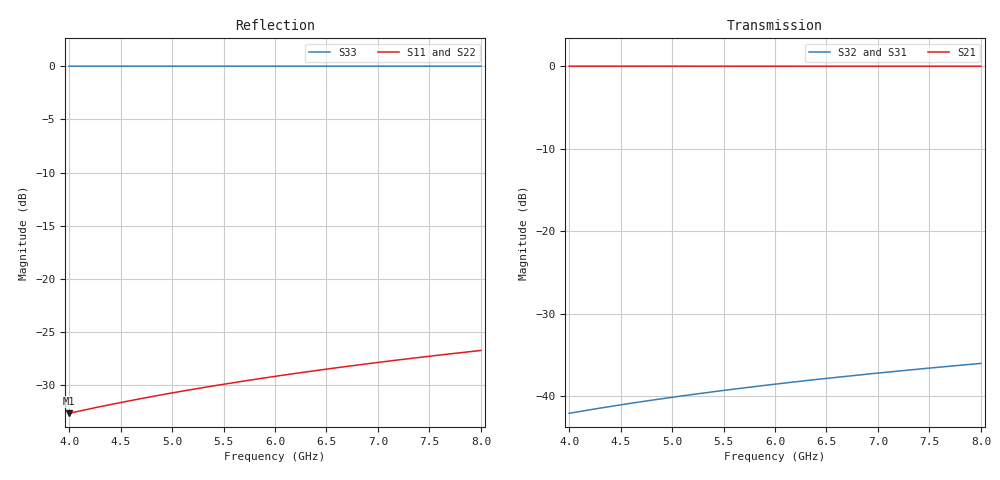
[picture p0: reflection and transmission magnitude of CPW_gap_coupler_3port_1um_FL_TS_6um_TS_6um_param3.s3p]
! Sonnet Data File
! From: em Version : 15.52
! From Project: CPW_gap_coupler_3port_1um_FL_TS_6um
! Data is De-embedded
! Data File Written: 08/14/2018 17:24:40
!< HDATE 08/14/2018 17:19:51
!< MDATE 08/14/2018 17:19:51
!< PARAMS
!< gap = 2.0
!< cpwS = 5.0
!< cpwS1 = 5.0
!< feedW = 12.0
!< feedS1 = 5.0
!< cond_length = 244.0
!< inner_length = 226.0
!< hangerW = 12.0000175
!< open_gap = 22.0
!< coupler_length = 250.0
!< END PARAMS
# GHZ S MA R 50.00000
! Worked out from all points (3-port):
!   201 points, 4 GHz to 8 GHz, reference 50 ohm
!   strongest paths, dB at 4 GHz, 5 GHz, 6 GHz, 7 GHz, 8 GHz:
!     S21: 0.0, 0.0, 0.0, 0.0, 0.0
!     S32: -42.1, -40.1, -38.6, -37.2, -36.0
!     S31: -42.1, -40.1, -38.6, -37.2, -36.0
!   lowest |S11| = -32.6 dB at 4 GHz (marker M1), VSWR 1.05, Z = 50.3 + j2.32 ohm
!   |S11| at or under -10 dB: start of sweep to end of sweep
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4  0.02332 81.7  0.9997 -9.0  0.007863 83.2
   0.9997 -9.0  0.02332 80.5  0.007863 82.7
   0.007863 83.2  0.007863 82.7  0.9999 -6.4
4.24  0.02471 81.2  0.9997 -9.5  0.008335 82.8
      0.9997 -9.5  0.02471 79.9  0.008336 82.3
      0.008335 82.8  0.008336 82.3  0.9999 -6.8
4.48  0.0261 80.7  0.9996 -10.1  0.008809 82.4
      0.9996 -10.1  0.0261 79.3  0.008809 81.8
      0.008809 82.4  0.008809 81.8  0.9999 -7.2
4.94  0.02874 79.8  0.9995 -11.1  0.009716 81.6
      0.9995 -11.1  0.02874 78.3  0.009716 81.0
      0.009716 81.6  0.009716 81.0  0.9999 -8.0
5.46  0.03172 78.7  0.9994 -12.3  0.01074 80.7
      0.9994 -12.3  0.03172 77.0  0.01074 80.0
      0.01074 80.7  0.01074 80.0  0.9999 -8.8
6  0.0348 77.6  0.9993 -13.5  0.01181 79.8
   0.9993 -13.5  0.0348 75.7  0.01181 79.0
   0.01181 79.8  0.01181 79.0  0.9999 -9.7
6.44  0.0373 76.6  0.9992 -14.5  0.01268 79.1
      0.9992 -14.5  0.0373 74.7  0.01268 78.2
      0.01268 79.1  0.01268 78.2  0.9998 -10.4
6.94  0.04012 75.6  0.9991 -15.6  0.01367 78.2
      0.9991 -15.6  0.04012 73.5  0.01367 77.3
      0.01367 78.2  0.01367 77.3  0.9998 -11.2
7.46  0.04304 74.5  0.999 -16.7  0.0147 77.3
      0.999 -16.7  0.04304 72.3  0.0147 76.4
      0.0147 77.3  0.0147 76.4  0.9998 -12.0
8  0.04606 73.4  0.9988 -17.9  0.01578 76.4
   0.9988 -17.9  0.04606 71.0  0.01578 75.4
   0.01578 76.4  0.01578 75.4  0.9998 -12.9
